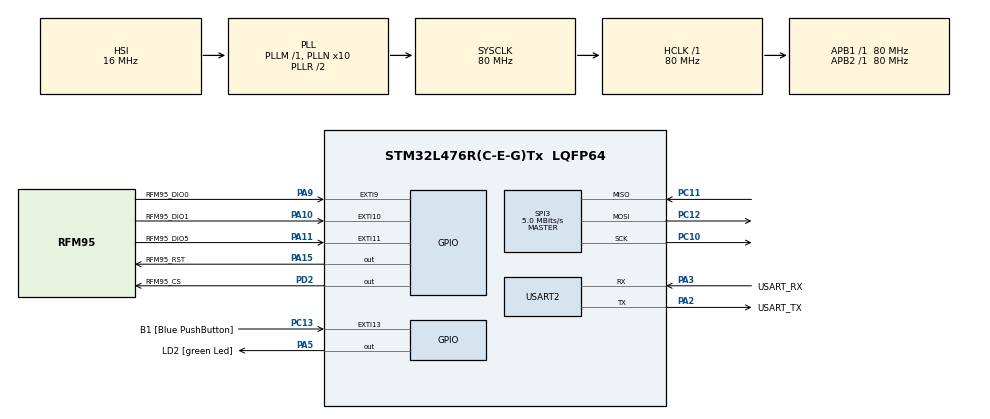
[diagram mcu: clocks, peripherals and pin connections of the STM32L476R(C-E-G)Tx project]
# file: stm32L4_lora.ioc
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Mcu.Family=STM32L4
Mcu.Name=STM32L476R(C-E-G)Tx
Mcu.Package=LQFP64
NVIC.EXTI15_10_IRQn=true\:0\:0\:false\:false\:true\:true\:true\:true
NVIC.EXTI9_5_IRQn=true\:0\:0\:false\:false\:true\:true\:true\:true
NVIC.LPTIM1_IRQn=true\:0\:0\:false\:false\:true\:true\:true\:true
NVIC.PriorityGroup=NVIC_PRIORITYGROUP_4
NVIC.RTC_WKUP_IRQn=true\:0\:0\:false\:false\:true\:true\:true\:true
PA10.GPIO_Label=RFM95_DIO1
PA10.Signal=GPXTI10
PA11.GPIO_Label=RFM95_DIO5
PA11.Signal=GPXTI11
PA13\ (JTMS-SWDIO).GPIO_Label=TMS
PA13\ (JTMS-SWDIO).Mode=Serial_Wire
PA13\ (JTMS-SWDIO).Signal=SYS_JTMS-SWDIO
PA14\ (JTCK-SWCLK).GPIO_Label=TCK
PA14\ (JTCK-SWCLK).Mode=Serial_Wire
PA14\ (JTCK-SWCLK).Signal=SYS_JTCK-SWCLK
PA15\ (JTDI).GPIO_Label=RFM95_RST
PA15\ (JTDI).GPIO_ModeDefaultOutputPP=GPIO_MODE_OUTPUT_OD
PA15\ (JTDI).GPIO_PuPd=GPIO_NOPULL
PA15\ (JTDI).PinState=GPIO_PIN_SET
PA15\ (JTDI).Signal=GPIO_Output
PA2.GPIO_Label=USART_TX
PA2.GPIO_Mode=GPIO_MODE_AF_PP
PA2.GPIO_PuPd=GPIO_NOPULL
PA2.GPIO_Speed=GPIO_SPEED_FREQ_VERY_HIGH
PA2.Mode=Asynchronous
PA2.Signal=USART2_TX
PA3.GPIO_Label=USART_RX
PA3.GPIO_Mode=GPIO_MODE_AF_PP
PA3.GPIO_PuPd=GPIO_NOPULL
PA3.GPIO_Speed=GPIO_SPEED_FREQ_VERY_HIGH
PA3.Mode=Asynchronous
PA3.Signal=USART2_RX
PA5.GPIO_Label=LD2 [green Led]
PA5.GPIO_ModeDefaultOutputPP=GPIO_MODE_OUTPUT_PP
PA5.GPIO_PuPd=GPIO_NOPULL
PA5.GPIO_Speed=GPIO_SPEED_FREQ_LOW
PA5.Signal=GPIO_Output
PA9.GPIO_Label=RFM95_DIO0
PA9.Signal=GPXTI9
PB3\ (JTDO-TRACESWO).GPIO_Label=SWO
PB3\ (JTDO-TRACESWO).Signal=SYS_JTDO-SWO
PC10.Mode=Full_Duplex_Master
PC10.Signal=SPI3_SCK
PC11.GPIO_PuPd=GPIO_PULLUP
PC11.Mode=Full_Duplex_Master
PC11.Signal=SPI3_MISO
PC12.Mode=Full_Duplex_Master
PC12.Signal=SPI3_MOSI
PC13.GPIO_Label=B1 [Blue PushButton]
PC13.GPIO_ModeDefaultEXTI=GPIO_MODE_IT_FALLING
PC13.GPIO_PuPd=GPIO_NOPULL
PC13.Signal=GPXTI13
PC14-OSC32_IN\ (PC14).Mode=LSE-External-Oscillator
PC14-OSC32_IN\ (PC14).Signal=RCC_OSC32_IN
PC15-OSC32_OUT\ (PC15).Mode=LSE-External-Oscillator
PC15-OSC32_OUT\ (PC15).Signal=RCC_OSC32_OUT
PD2.GPIO_Label=RFM95_CS
PD2.GPIO_ModeDefaultOutputPP=GPIO_MODE_OUTPUT_PP
PD2.GPIO_PuPd=GPIO_PULLUP
PD2.GPIO_Speed=GPIO_SPEED_FREQ_MEDIUM
PD2.PinState=GPIO_PIN_SET
PD2.Signal=GPIO_Output
PH0-OSC_IN\ (PH0).Signal=RCC_OSC_IN
PH1-OSC_OUT\ (PH1).Signal=RCC_OSC_OUT
ProjectManager.HeapSize=0x200
ProjectManager.StackSize=0x400
ProjectManager.TargetToolchain=STM32CubeIDE
RCC.ADCFreq_Value=64000000
RCC.AHBFreq_Value=80000000
RCC.APB1Freq_Value=80000000
RCC.APB1TimFreq_Value=80000000
RCC.APB2Freq_Value=80000000
RCC.APB2TimFreq_Value=80000000
RCC.CortexFreq_Value=80000000
RCC.HCLKFreq_Value=80000000
RCC.HSE_VALUE=8000000
RCC.HSI_VALUE=16000000
RCC.LPTIM1CLockSelection=RCC_LPTIM1CLKSOURCE_LSE
RCC.MSI_VALUE=4000000
RCC.PLLN=10
RCC.PLLSourceVirtual=RCC_PLLSOURCE_HSI
RCC.PREFETCH_ENABLE=1
RCC.RTCClockSelection=RCC_RTCCLKSOURCE_LSE
RCC.SYSCLKFreq_VALUE=80000000
RCC.SYSCLKSource=RCC_SYSCLKSOURCE_PLLCLK
RCC.USBFreq_Value=64000000
RCC.VCOOutputFreq_Value=160000000
SPI3.BaudRatePrescaler=SPI_BAUDRATEPRESCALER_16
SPI3.CalculateBaudRate=5.0 MBits/s
SPI3.DataSize=SPI_DATASIZE_8BIT
SPI3.Direction=SPI_DIRECTION_2LINES
SPI3.Mode=SPI_MODE_MASTER
SPI3.VirtualType=VM_MASTER
USART2.VirtualMode-Asynchronous=VM_ASYNC
VP_LPTIM1_VS_LPTIM_counterModeInternalClock.Mode=Counts__internal_clock_event_00
VP_RTC_VS_RTC_Activate.Mode=RTC_Enabled
VP_RTC_VS_RTC_WakeUp_intern.Mode=WakeUp
board=NUCLEO-L476RG

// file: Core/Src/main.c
/* USER CODE BEGIN Header */
/**
  ******************************************************************************
  * @file           : main.c
  * @brief          : Main program body
  ******************************************************************************
  * @attention
  *
  * Copyright (c) 2025 STMicroelectronics.
  * All rights reserved.
  *
  * This software is licensed under terms that can be found in the LICENSE file
  * in the root directory of this software component.
  * If no LICENSE file comes with this software, it is provided AS-IS.
  *
  ******************************************************************************
  */
/* USER CODE END Header */
#include "main.h"

/* USER CODE BEGIN Includes */
#include "lora.h"
#include "stdio.h"
/* USER CODE END Includes */

/* USER CODE BEGIN PTD */
rfm95_handle_t rfm95_handle = {0};
/* USER CODE END PTD */

LPTIM_HandleTypeDef hlptim1;

RTC_HandleTypeDef hrtc;

SPI_HandleTypeDef hspi3;

UART_HandleTypeDef huart2;

/* USER CODE BEGIN PV */
// ------------- LPTIM ----------------
volatile uint32_t lptim_tick_msb = 0;
uint32_t lse_clk = (1<<15);

// ------------- RFM95 ---------------
bool rfm_flag;
volatile bool pkt_received = false;
uint8_t rx_buff[255];
uint8_t rx_data_length;

/* USER CODE END PV */

void SystemClock_Config(void);
static void MX_GPIO_Init(void);
static void MX_USART2_UART_Init(void);
static void MX_RTC_Init(void);
static void MX_SPI3_Init(void);
static void MX_LPTIM1_Init(void);
/* USER CODE BEGIN PFP */
int _write(int file, char *ptr, int len);

static uint32_t get_precision_tick();
static void 		precision_sleep_until(uint32_t target_ticks);
static uint8_t	get_battery_level();
static void     rfm95_after_interrupts_configured();

void MySystemClock_Config(void);
void enterStopMode();
/* USER CODE END PFP */

int main(void)
{

  /* MCU Configuration--------------------------------------------------------*/

  /* Reset of all peripherals, Initializes the Flash interface and the Systick. */
  HAL_Init();

  /* Configure the system clock */
  SystemClock_Config();

  /* Initialize all configured peripherals */
  MX_GPIO_Init();
  MX_USART2_UART_Init();
  MX_RTC_Init();
  MX_SPI3_Init();
  MX_LPTIM1_Init();
  /* USER CODE BEGIN 2 */

  HAL_LPTIM_Counter_Start_IT(&hlptim1, 0xFFFF);

  // config RFM95
  rfm95_handle.spi_handle = &hspi3;
  rfm95_handle.nrst_port  = RFM95_RST_GPIO_Port;
  rfm95_handle.nrst_pin   = RFM95_RST_Pin;
  rfm95_handle.nss_port   = RFM95_CS_GPIO_Port;
  rfm95_handle.nss_pin    = RFM95_CS_Pin;

  rfm95_handle.precision_tick_frequency = lse_clk;
  rfm95_handle.precision_tick_drift_ns_per_s = 20000;
  rfm95_handle.get_precision_tick = get_precision_tick;
  rfm95_handle.precision_sleep_until = precision_sleep_until;
  rfm95_handle.on_after_interrupts_configured = rfm95_after_interrupts_configured;
  //rfm95_handle.random_int = random_int;
  rfm95_handle.get_battery_level = get_battery_level;

  // Modify parameters here:
  rfm95_set_power(&rfm95_handle, 2); // power 2 dBm - 17 dBm
  rfm95_set_frequency(&rfm95_handle, 868000000);

  // initialize RFM95
  if(!rfm95_init(&rfm95_handle)) printf("Err init\r\n");

  uint8_t buff[1] = {0x01};
  uint32_t next_tick = 0*lse_clk;

  /* USER CODE END 2 */

  /* Infinite loop */
  /* USER CODE BEGIN WHILE */
  while (1)
  {
    if(get_precision_tick() > next_tick){
      printf("transmitting\r\n");
      if(!rfm95_send(&rfm95_handle, buff, 1)) printf("Error sending\r\n");

      next_tick = get_precision_tick() + 10*lse_clk;
    }

    if(!rfm95_enter_rx_mode(&rfm95_handle)) printf("Err entering RX\r\n");

    /* USER CODE END WHILE */

    /* USER CODE BEGIN 3 */

    while(!pkt_received & (get_precision_tick() < next_tick));

    int8_t  snr;
    int16_t rssi;
    if(!rfm95_getSNR(&rfm95_handle, &snr))   printf("Err reading snr\r\n");
    if(!rfm95_getRSSI(&rfm95_handle, &rssi)) printf("Err reading rssi\r\n");

    if(!rfm95_stdby(&rfm95_handle)) printf("Err entering standby\r\n");

    if (pkt_received){

      uint8_t status;
      if(!rfm95_getModemStatus(&rfm95_handle, &status))printf("Err reading status\r\n");
      printf("Modem stat %d\r\n", status);

      pkt_received = false;
      if(!rfm95_receive(&rfm95_handle, &rx_buff[0], &rx_data_length)) printf("Err Rx\r\n");
      else printf("pkt received: %d\r\n", rx_data_length);

      for(uint8_t i = 0; i < rx_data_length; i++)printf("0x%X ", rx_buff[i]);
      printf("\r\n");

      printf("SNR:  %i\r\n", snr);
      printf("RSSI: %i\r\n", rssi);
    }

  }
  /* USER CODE END 3 */
}

void SystemClock_Config(void)
{
  RCC_OscInitTypeDef RCC_OscInitStruct = {0};
  RCC_ClkInitTypeDef RCC_ClkInitStruct = {0};

  /** Configure the main internal regulator output voltage
  */
  if (HAL_PWREx_ControlVoltageScaling(PWR_REGULATOR_VOLTAGE_SCALE1) != HAL_OK)
  {
    Error_Handler();
  }

  /** Configure LSE Drive Capability
  */
  HAL_PWR_EnableBkUpAccess();
  __HAL_RCC_LSEDRIVE_CONFIG(RCC_LSEDRIVE_LOW);

  /** Initializes the RCC Oscillators according to the specified parameters
  * in the RCC_OscInitTypeDef structure.
  */
  RCC_OscInitStruct.OscillatorType = RCC_OSCILLATORTYPE_HSI|RCC_OSCILLATORTYPE_LSE;
  RCC_OscInitStruct.LSEState = RCC_LSE_ON;
  RCC_OscInitStruct.HSIState = RCC_HSI_ON;
  RCC_OscInitStruct.HSICalibrationValue = RCC_HSICALIBRATION_DEFAULT;
  RCC_OscInitStruct.PLL.PLLState = RCC_PLL_ON;
  RCC_OscInitStruct.PLL.PLLSource = RCC_PLLSOURCE_HSI;
  RCC_OscInitStruct.PLL.PLLM = 1;
  RCC_OscInitStruct.PLL.PLLN = 10;
  RCC_OscInitStruct.PLL.PLLP = RCC_PLLP_DIV7;
  RCC_OscInitStruct.PLL.PLLQ = RCC_PLLQ_DIV2;
  RCC_OscInitStruct.PLL.PLLR = RCC_PLLR_DIV2;
  if (HAL_RCC_OscConfig(&RCC_OscInitStruct) != HAL_OK)
  {
    Error_Handler();
  }

  /** Initializes the CPU, AHB and APB buses clocks
  */
  RCC_ClkInitStruct.ClockType = RCC_CLOCKTYPE_HCLK|RCC_CLOCKTYPE_SYSCLK
                              |RCC_CLOCKTYPE_PCLK1|RCC_CLOCKTYPE_PCLK2;
  RCC_ClkInitStruct.SYSCLKSource = RCC_SYSCLKSOURCE_PLLCLK;
  RCC_ClkInitStruct.AHBCLKDivider = RCC_SYSCLK_DIV1;
  RCC_ClkInitStruct.APB1CLKDivider = RCC_HCLK_DIV1;
  RCC_ClkInitStruct.APB2CLKDivider = RCC_HCLK_DIV1;

  if (HAL_RCC_ClockConfig(&RCC_ClkInitStruct, FLASH_LATENCY_4) != HAL_OK)
  {
    Error_Handler();
  }
}

static void MX_LPTIM1_Init(void)
{

  hlptim1.Instance = LPTIM1;
  hlptim1.Init.Clock.Source = LPTIM_CLOCKSOURCE_APBCLOCK_LPOSC;
  hlptim1.Init.Clock.Prescaler = LPTIM_PRESCALER_DIV1;
  hlptim1.Init.Trigger.Source = LPTIM_TRIGSOURCE_SOFTWARE;
  hlptim1.Init.OutputPolarity = LPTIM_OUTPUTPOLARITY_HIGH;
  hlptim1.Init.UpdateMode = LPTIM_UPDATE_IMMEDIATE;
  hlptim1.Init.CounterSource = LPTIM_COUNTERSOURCE_INTERNAL;
  hlptim1.Init.Input1Source = LPTIM_INPUT1SOURCE_GPIO;
  hlptim1.Init.Input2Source = LPTIM_INPUT2SOURCE_GPIO;
  if (HAL_LPTIM_Init(&hlptim1) != HAL_OK)
  {
    Error_Handler();
  }

}

static void MX_RTC_Init(void)
{

  /** Initialize RTC Only
  */
  hrtc.Instance = RTC;
  hrtc.Init.HourFormat = RTC_HOURFORMAT_24;
  hrtc.Init.AsynchPrediv = 127;
  hrtc.Init.SynchPrediv = 255;
  hrtc.Init.OutPut = RTC_OUTPUT_DISABLE;
  hrtc.Init.OutPutRemap = RTC_OUTPUT_REMAP_NONE;
  hrtc.Init.OutPutPolarity = RTC_OUTPUT_POLARITY_HIGH;
  hrtc.Init.OutPutType = RTC_OUTPUT_TYPE_OPENDRAIN;
  if (HAL_RTC_Init(&hrtc) != HAL_OK)
  {
    Error_Handler();
  }

}

static void MX_SPI3_Init(void)
{

  /* SPI3 parameter configuration*/
  hspi3.Instance = SPI3;
  hspi3.Init.Mode = SPI_MODE_MASTER;
  hspi3.Init.Direction = SPI_DIRECTION_2LINES;
  hspi3.Init.DataSize = SPI_DATASIZE_8BIT;
  hspi3.Init.CLKPolarity = SPI_POLARITY_LOW;
  hspi3.Init.CLKPhase = SPI_PHASE_1EDGE;
  hspi3.Init.NSS = SPI_NSS_SOFT;
  hspi3.Init.BaudRatePrescaler = SPI_BAUDRATEPRESCALER_16;
  hspi3.Init.FirstBit = SPI_FIRSTBIT_MSB;
  hspi3.Init.TIMode = SPI_TIMODE_DISABLE;
  hspi3.Init.CRCCalculation = SPI_CRCCALCULATION_DISABLE;
  hspi3.Init.CRCPolynomial = 7;
  hspi3.Init.CRCLength = SPI_CRC_LENGTH_DATASIZE;
  hspi3.Init.NSSPMode = SPI_NSS_PULSE_ENABLE;
  if (HAL_SPI_Init(&hspi3) != HAL_OK)
  {
    Error_Handler();
  }

}

static void MX_USART2_UART_Init(void)
{

  huart2.Instance = USART2;
  huart2.Init.BaudRate = 115200;
  huart2.Init.WordLength = UART_WORDLENGTH_8B;
  huart2.Init.StopBits = UART_STOPBITS_1;
  huart2.Init.Parity = UART_PARITY_NONE;
  huart2.Init.Mode = UART_MODE_TX_RX;
  huart2.Init.HwFlowCtl = UART_HWCONTROL_NONE;
  huart2.Init.OverSampling = UART_OVERSAMPLING_16;
  huart2.Init.OneBitSampling = UART_ONE_BIT_SAMPLE_DISABLE;
  huart2.AdvancedInit.AdvFeatureInit = UART_ADVFEATURE_NO_INIT;
  if (HAL_UART_Init(&huart2) != HAL_OK)
  {
    Error_Handler();
  }

}

static void MX_GPIO_Init(void)
{
  GPIO_InitTypeDef GPIO_InitStruct = {0};

  /* GPIO Ports Clock Enable */
  __HAL_RCC_GPIOC_CLK_ENABLE();
  __HAL_RCC_GPIOH_CLK_ENABLE();
  __HAL_RCC_GPIOA_CLK_ENABLE();
  __HAL_RCC_GPIOD_CLK_ENABLE();
  __HAL_RCC_GPIOB_CLK_ENABLE();

  /*Configure GPIO pin Output Level */
  HAL_GPIO_WritePin(LD2_GPIO_Port, LD2_Pin, GPIO_PIN_RESET);

  /*Configure GPIO pin Output Level */
  HAL_GPIO_WritePin(RFM95_RST_GPIO_Port, RFM95_RST_Pin, GPIO_PIN_SET);

  /*Configure GPIO pin Output Level */
  HAL_GPIO_WritePin(RFM95_CS_GPIO_Port, RFM95_CS_Pin, GPIO_PIN_SET);

  /*Configure GPIO pin : B1_Pin */
  GPIO_InitStruct.Pin = B1_Pin;
  GPIO_InitStruct.Mode = GPIO_MODE_IT_FALLING;
  GPIO_InitStruct.Pull = GPIO_NOPULL;
  HAL_GPIO_Init(B1_GPIO_Port, &GPIO_InitStruct);

  /*Configure GPIO pin : LD2_Pin */
  GPIO_InitStruct.Pin = LD2_Pin;
  GPIO_InitStruct.Mode = GPIO_MODE_OUTPUT_PP;
  GPIO_InitStruct.Pull = GPIO_NOPULL;
  GPIO_InitStruct.Speed = GPIO_SPEED_FREQ_LOW;
  HAL_GPIO_Init(LD2_GPIO_Port, &GPIO_InitStruct);

  /*Configure GPIO pins : RFM95_DIO0_Pin RFM95_DIO1_Pin RFM95_DIO5_Pin */
  GPIO_InitStruct.Pin = RFM95_DIO0_Pin|RFM95_DIO1_Pin|RFM95_DIO5_Pin;
  GPIO_InitStruct.Mode = GPIO_MODE_IT_RISING;
  GPIO_InitStruct.Pull = GPIO_NOPULL;
  HAL_GPIO_Init(GPIOA, &GPIO_InitStruct);

  /*Configure GPIO pin : RFM95_RST_Pin */
  GPIO_InitStruct.Pin = RFM95_RST_Pin;
  GPIO_InitStruct.Mode = GPIO_MODE_OUTPUT_OD;
  GPIO_InitStruct.Pull = GPIO_NOPULL;
  GPIO_InitStruct.Speed = GPIO_SPEED_FREQ_LOW;
  HAL_GPIO_Init(RFM95_RST_GPIO_Port, &GPIO_InitStruct);

  /*Configure GPIO pin : RFM95_CS_Pin */
  GPIO_InitStruct.Pin = RFM95_CS_Pin;
  GPIO_InitStruct.Mode = GPIO_MODE_OUTPUT_PP;
  GPIO_InitStruct.Pull = GPIO_PULLUP;
  GPIO_InitStruct.Speed = GPIO_SPEED_FREQ_MEDIUM;
  HAL_GPIO_Init(RFM95_CS_GPIO_Port, &GPIO_InitStruct);

  /* EXTI interrupt init*/
  HAL_NVIC_SetPriority(EXTI9_5_IRQn, 0, 0);
  HAL_NVIC_EnableIRQ(EXTI9_5_IRQn);

//  HAL_NVIC_SetPriority(EXTI15_10_IRQn, 0, 0);
//  HAL_NVIC_EnableIRQ(EXTI15_10_IRQn);

}

/* USER CODE BEGIN 4 */

// -------------- RFM95 user defined functions -------------------

/*
 * return precise timing based on internal LPTIM module
 */
static uint32_t get_precision_tick(){
	__disable_irq();
	uint32_t precision_tick = lptim_tick_msb | HAL_LPTIM_ReadCounter(&hlptim1);
	__enable_irq();
	return precision_tick;
}

/*
 * Allows to set the MCU into STOP2 mode
 */
static void precision_sleep_until(uint32_t target_ticks){
	while(1){
		uint32_t curr_tick = get_precision_tick();

		// exit condition:
		if(target_ticks < curr_tick) break;

		uint32_t sleep_ticks = target_ticks - curr_tick;

		// avoid short sleep intervals:
		if(sleep_ticks < 10) break;
		else {
			// overall CMP value - some margin (needed to reset clock configurations after stop mode2)
			uint32_t compare_tick = (curr_tick & 0xFFFF) + sleep_ticks - 10;

			if (compare_tick >= 0xFFFF){ // ARR will awake MCU before compare
				HAL_SuspendTick();
				enterStopMode();
			} else { // otherwise CMP keeps MCU sleep all time
				__HAL_LPTIM_CLEAR_FLAG(&hlptim1, LPTIM_FLAG_CMPOK);
				__HAL_LPTIM_COMPARE_SET(&hlptim1, compare_tick);            // set CMP limit

				while (!__HAL_LPTIM_GET_FLAG(&hlptim1, LPTIM_FLAG_CMPOK));  // wait for effective change

				__HAL_LPTIM_CLEAR_FLAG(&hlptim1, LPTIM_FLAG_CMPM);          // clear CMP interrupt flag
				__HAL_LPTIM_ENABLE_IT(&hlptim1, LPTIM_IT_CMPM);             // enable CMP interrupt

				HAL_SuspendTick();
				enterStopMode();

				__HAL_LPTIM_DISABLE_IT(&hlptim1, LPTIM_IT_CMPM);            // disable CMP interrupt
			}
		}
	}

	while(get_precision_tick() < target_ticks);                       // wait residue time here ( < 10 ticks)
}

static uint8_t get_battery_level(){
	return 0;
}

/*
 * This function is executed after initializing rfm95 (ready to accept interrupts
 * without hard fault errors)
 */
void rfm95_after_interrupts_configured(){
  HAL_NVIC_SetPriority(EXTI15_10_IRQn, 0, 0);
  HAL_NVIC_EnableIRQ(EXTI15_10_IRQn);
}

// --------------------------------------------------------------------------------------

// -------------------------- System Power down routines --------------------------------

/*
 * Enter stop mode and resume clock configurations on exit
 */
void enterStopMode(){
	// wake from HSI --> faster wake up sequence:
	__HAL_RCC_WAKEUPSTOP_CLK_CONFIG(RCC_STOP_WAKEUPCLOCK_HSI);

	// Enter stop mode 2:
	HAL_PWREx_EnterSTOP2Mode(PWR_STOPENTRY_WFI);

	// awake here...

	// resume system clock:
	if(READ_BIT(RCC->CR, RCC_CR_PLLRDY) == 0U) MySystemClock_Config();

	// resume system tick with correct clock
	HAL_ResumeTick();
}

/*
 * Modified clock setup function:
 * -> Avoid repeating initialization for the LSE 32 kHz clock if already running.
 *    Doing this every time the MCU exits STOP mode, results in a corrupted timing accuracy.
 */
void MySystemClock_Config(void) {
  RCC_OscInitTypeDef RCC_OscInitStruct = {0};
  RCC_ClkInitTypeDef RCC_ClkInitStruct = {0};

  /** Configure the main internal regulator output voltage
  */
  if (HAL_PWREx_ControlVoltageScaling(PWR_REGULATOR_VOLTAGE_SCALE1) != HAL_OK)
  {
    Error_Handler();
  }

  /** Configure LSE Drive Capability only if it
  */
  if ((HAL_IS_BIT_SET(RCC->BDCR, RCC_BDCR_LSEON) == 0) || (HAL_IS_BIT_SET(RCC->BDCR, RCC_BDCR_LSERDY)) != 1){
  	HAL_PWR_EnableBkUpAccess();
		__HAL_RCC_LSEDRIVE_CONFIG(RCC_LSEDRIVE_LOW);

		RCC_OscInitStruct.OscillatorType = RCC_OSCILLATORTYPE_LSE;
  }

  /** Initializes the RCC Oscillators according to the specified parameters
  * in the RCC_OscInitTypeDef structure.
  */
  RCC_OscInitStruct.OscillatorType |= RCC_OSCILLATORTYPE_HSI;
  RCC_OscInitStruct.LSEState = RCC_LSE_ON;
  RCC_OscInitStruct.HSIState = RCC_HSI_ON;
  RCC_OscInitStruct.HSICalibrationValue = RCC_HSICALIBRATION_DEFAULT;
  RCC_OscInitStruct.PLL.PLLState = RCC_PLL_ON;
  RCC_OscInitStruct.PLL.PLLSource = RCC_PLLSOURCE_HSI;
  RCC_OscInitStruct.PLL.PLLM = 1;
  RCC_OscInitStruct.PLL.PLLN = 10;
  RCC_OscInitStruct.PLL.PLLP = RCC_PLLP_DIV7;
  RCC_OscInitStruct.PLL.PLLQ = RCC_PLLQ_DIV2;
  RCC_OscInitStruct.PLL.PLLR = RCC_PLLR_DIV2;
  if (HAL_RCC_OscConfig(&RCC_OscInitStruct) != HAL_OK)
  {
    Error_Handler();
  }

  /** Initializes the CPU, AHB and APB buses clocks
  */
  RCC_ClkInitStruct.ClockType = RCC_CLOCKTYPE_HCLK|RCC_CLOCKTYPE_SYSCLK
                              |RCC_CLOCKTYPE_PCLK1|RCC_CLOCKTYPE_PCLK2;
  RCC_ClkInitStruct.SYSCLKSource = RCC_SYSCLKSOURCE_PLLCLK;
  RCC_ClkInitStruct.AHBCLKDivider = RCC_SYSCLK_DIV1;
  RCC_ClkInitStruct.APB1CLKDivider = RCC_HCLK_DIV1;
  RCC_ClkInitStruct.APB2CLKDivider = RCC_HCLK_DIV1;

  if (HAL_RCC_ClockConfig(&RCC_ClkInitStruct, FLASH_LATENCY_4) != HAL_OK)
  {
    Error_Handler();
  }
}

// --------------------------------------------------------------------------------------

// ------------------------------------- Call-backs --------------------------------------

// Auto-reload callback for LPTIM module
void HAL_LPTIM_AutoReloadMatchCallback(LPTIM_HandleTypeDef *hlptim){
  lptim_tick_msb += 0x10000;
}

// Compare match callback for LPTIM module
void HAL_LPTIM_CompareMatchCallback(LPTIM_HandleTypeDef *hlptim){

}

// GPIO external interrupts callback
void HAL_GPIO_EXTI_Callback(uint16_t GPIO_Pin){

	// Events on RFM95 interrupt pins
  if (GPIO_Pin == RFM95_DIO0_Pin) {
    rfm95_on_interrupt(&rfm95_handle, RFM95_INTERRUPT_DIO0);

    // something received
    if(rfm95_handle.rfm_status == RXCONTIN_MODE) pkt_received = true;

  } else if (GPIO_Pin == RFM95_DIO1_Pin) {
    rfm95_on_interrupt(&rfm95_handle, RFM95_INTERRUPT_DIO1);
  } else if (GPIO_Pin == RFM95_DIO5_Pin) {
    rfm95_on_interrupt(&rfm95_handle, RFM95_INTERRUPT_DIO5);
  }
}

// ----------------------------------------------------------------------------------------

int _write(int file, char *ptr, int len)
{
  HAL_UART_Transmit(&huart2, (uint8_t *)ptr, len, HAL_MAX_DELAY);
  return len;
}

/* USER CODE END 4 */

void Error_Handler(void)
{
  __disable_irq();
  while (1)
  {
  }
}
